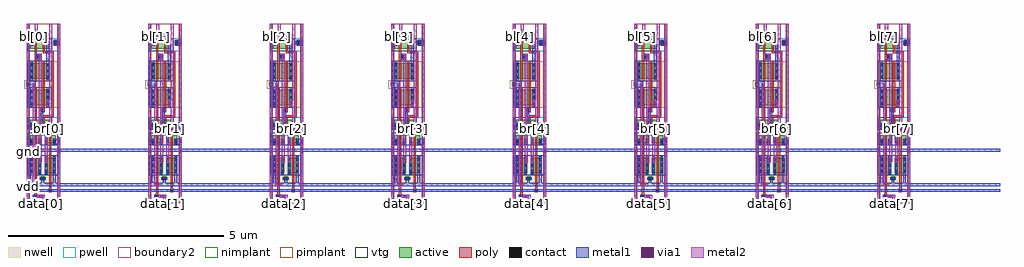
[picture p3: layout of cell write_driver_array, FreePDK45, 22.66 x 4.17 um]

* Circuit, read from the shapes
.subckt write_driver_array bl[0] bl[1] bl[2] bl[3] bl[4] bl[5] bl[6] bl[7] br[0] br[1] br[2] br[3] br[4] br[5] br[6] br[7] data[0] data[1] data[2] data[3] data[4] data[5] data[6] data[7] en gnd vdd
M1 n1 data[0] gnd gnd nfet w=0.18u l=0.05u
M2 n2 data[0] gnd gnd nfet w=0.18u l=0.05u
M3 n3 n1 gnd gnd nfet w=0.18u l=0.05u
M4 br[0] en n2 gnd nfet w=0.18u l=0.05u
M5 bl[0] en n3 gnd nfet w=0.18u l=0.05u
M6 gnd en n4 gnd nfet w=0.18u l=0.05u
M7 n5 data[1] gnd gnd nfet w=0.18u l=0.05u
M8 n6 data[1] gnd gnd nfet w=0.18u l=0.05u
M9 n7 n5 gnd gnd nfet w=0.18u l=0.05u
M10 br[1] en n6 gnd nfet w=0.18u l=0.05u
M11 bl[1] en n7 gnd nfet w=0.18u l=0.05u
M12 gnd en n8 gnd nfet w=0.18u l=0.05u
M13 n9 data[2] gnd gnd nfet w=0.18u l=0.05u
M14 n10 data[2] gnd gnd nfet w=0.18u l=0.05u
M15 n11 n9 gnd gnd nfet w=0.18u l=0.05u
M16 br[2] en n10 gnd nfet w=0.18u l=0.05u
M17 bl[2] en n11 gnd nfet w=0.18u l=0.05u
M18 gnd en n12 gnd nfet w=0.18u l=0.05u
M19 n13 data[3] gnd gnd nfet w=0.18u l=0.05u
M20 n14 data[3] gnd gnd nfet w=0.18u l=0.05u
M21 n15 n13 gnd gnd nfet w=0.18u l=0.05u
M22 br[3] en n14 gnd nfet w=0.18u l=0.05u
M23 bl[3] en n15 gnd nfet w=0.18u l=0.05u
M24 gnd en n16 gnd nfet w=0.18u l=0.05u
M25 n17 data[4] gnd gnd nfet w=0.18u l=0.05u
M26 n18 data[4] gnd gnd nfet w=0.18u l=0.05u
M27 n19 n17 gnd gnd nfet w=0.18u l=0.05u
M28 br[4] en n18 gnd nfet w=0.18u l=0.05u
M29 bl[4] en n19 gnd nfet w=0.18u l=0.05u
M30 gnd en n20 gnd nfet w=0.18u l=0.05u
M31 n21 data[5] gnd gnd nfet w=0.18u l=0.05u
M32 n22 data[5] gnd gnd nfet w=0.18u l=0.05u
M33 n23 n21 gnd gnd nfet w=0.18u l=0.05u
M34 br[5] en n22 gnd nfet w=0.18u l=0.05u
M35 bl[5] en n23 gnd nfet w=0.18u l=0.05u
M36 gnd en n24 gnd nfet w=0.18u l=0.05u
M37 n25 data[6] gnd gnd nfet w=0.18u l=0.05u
M38 n26 data[6] gnd gnd nfet w=0.18u l=0.05u
M39 n27 n25 gnd gnd nfet w=0.18u l=0.05u
M40 br[6] en n26 gnd nfet w=0.18u l=0.05u
M41 bl[6] en n27 gnd nfet w=0.18u l=0.05u
M42 gnd en n28 gnd nfet w=0.18u l=0.05u
M43 n29 data[7] gnd gnd nfet w=0.18u l=0.05u
M44 n30 data[7] gnd gnd nfet w=0.18u l=0.05u
M45 n31 n29 gnd gnd nfet w=0.18u l=0.05u
M46 br[7] en n30 gnd nfet w=0.18u l=0.05u
M47 bl[7] en n31 gnd nfet w=0.18u l=0.05u
M48 gnd en n32 gnd nfet w=0.18u l=0.05u
M49 n1 data[0] vdd vdd pfet w=0.36u l=0.05u
M50 n33 data[0] vdd vdd pfet w=0.36u l=0.05u
M51 n34 n1 vdd vdd pfet w=0.36u l=0.05u
M52 br[0] n4 n33 vdd pfet w=0.36u l=0.05u
M53 bl[0] n4 n34 vdd pfet w=0.36u l=0.05u
M54 vdd en n4 vdd pfet w=0.36u l=0.05u
M55 n5 data[1] vdd vdd pfet w=0.36u l=0.05u
M56 n35 data[1] vdd vdd pfet w=0.36u l=0.05u
M57 n36 n5 vdd vdd pfet w=0.36u l=0.05u
M58 br[1] n8 n35 vdd pfet w=0.36u l=0.05u
M59 bl[1] n8 n36 vdd pfet w=0.36u l=0.05u
M60 vdd en n8 vdd pfet w=0.36u l=0.05u
M61 n9 data[2] vdd vdd pfet w=0.36u l=0.05u
M62 n37 data[2] vdd vdd pfet w=0.36u l=0.05u
M63 n38 n9 vdd vdd pfet w=0.36u l=0.05u
M64 br[2] n12 n37 vdd pfet w=0.36u l=0.05u
M65 bl[2] n12 n38 vdd pfet w=0.36u l=0.05u
M66 vdd en n12 vdd pfet w=0.36u l=0.05u
M67 n13 data[3] vdd vdd pfet w=0.36u l=0.05u
M68 n39 data[3] vdd vdd pfet w=0.36u l=0.05u
M69 n40 n13 vdd vdd pfet w=0.36u l=0.05u
M70 br[3] n16 n39 vdd pfet w=0.36u l=0.05u
M71 bl[3] n16 n40 vdd pfet w=0.36u l=0.05u
M72 vdd en n16 vdd pfet w=0.36u l=0.05u
M73 n17 data[4] vdd vdd pfet w=0.36u l=0.05u
M74 n41 data[4] vdd vdd pfet w=0.36u l=0.05u
M75 n42 n17 vdd vdd pfet w=0.36u l=0.05u
M76 br[4] n20 n41 vdd pfet w=0.36u l=0.05u
M77 bl[4] n20 n42 vdd pfet w=0.36u l=0.05u
M78 vdd en n20 vdd pfet w=0.36u l=0.05u
M79 n21 data[5] vdd vdd pfet w=0.36u l=0.05u
M80 n43 data[5] vdd vdd pfet w=0.36u l=0.05u
M81 n44 n21 vdd vdd pfet w=0.36u l=0.05u
M82 br[5] n24 n43 vdd pfet w=0.36u l=0.05u
M83 bl[5] n24 n44 vdd pfet w=0.36u l=0.05u
M84 vdd en n24 vdd pfet w=0.36u l=0.05u
M85 n25 data[6] vdd vdd pfet w=0.36u l=0.05u
M86 n45 data[6] vdd vdd pfet w=0.36u l=0.05u
M87 n46 n25 vdd vdd pfet w=0.36u l=0.05u
M88 br[6] n28 n45 vdd pfet w=0.36u l=0.05u
M89 bl[6] n28 n46 vdd pfet w=0.36u l=0.05u
M90 vdd en n28 vdd pfet w=0.36u l=0.05u
M91 n29 data[7] vdd vdd pfet w=0.36u l=0.05u
M92 n47 data[7] vdd vdd pfet w=0.36u l=0.05u
M93 n48 n29 vdd vdd pfet w=0.36u l=0.05u
M94 br[7] n32 n47 vdd pfet w=0.36u l=0.05u
M95 bl[7] n32 n48 vdd pfet w=0.36u l=0.05u
M96 vdd en n32 vdd pfet w=0.36u l=0.05u
.ends

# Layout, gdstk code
import gdstk
lib = gdstk.Library(unit=1e-6, precision=5e-10)
def R(c, l, rs):  # rectangles x0, y0, x1, y1
    for r in rs: c.add(gdstk.rectangle(r[:2], r[2:], *l))
def A(c, l, x, y, w, h, nx, ny, dx, dy):  # array of equal rectangles
    R(c, l, [(x+i*dx, y+j*dy, x+i*dx+w, y+j*dy+h) for i in range(nx) for j in range(ny)])
active = (1, 0)
pwell = (2, 0)
nwell = (3, 0)
nimplant = (4, 0)
pimplant = (5, 0)
vtg = (6, 0)
poly = (9, 0)
contact = (10, 0)
metal1 = (11, 0)
via1 = (12, 0)
metal2 = (13, 0)
boundary2 = (239, 0)

write_driver = lib.new_cell('write_driver')
R(write_driver, active, [(0.2925,0.535,0.3825,0.625), (0.04,0.705,0.115,1.065), (0.04,0.705,0.115,1.065), (0.04,0.705,0.3,1.065), (0.225,0.705,0.3,1.065), (0.225,0.705,0.3,1.065), (0.38,0.705,0.455,1.065), (0.38,0.705,0.455,1.065), (0.38,0.705,0.64,1.065), (0.565,0.705,0.64,1.065), (0.565,0.705,0.64,1.065), (0.04,0.71,0.115,1.065), (0.225,0.71,0.3,1.065), (0.38,0.71,0.455,1.065), (0.565,0.71,0.64,1.065), (0.04,1.4,0.115,1.475), (0.04,1.4,0.115,1.58), (0.04,1.4,0.115,1.58), (0.04,1.4,0.3,1.58), (0.225,1.4,0.3,1.475), (0.225,1.4,0.3,1.58), (0.225,1.4,0.3,1.58), (0.38,1.4,0.455,1.475), (0.38,1.4,0.455,1.58), (0.38,1.4,0.455,1.58), (0.38,1.4,0.64,1.58), (0.565,1.4,0.64,1.475), (0.565,1.4,0.64,1.58), (0.565,1.4,0.64,1.58), (0.5725,1.7575,0.6625,1.8475), (0.04,1.765,0.115,1.84), (0.04,1.765,0.49,1.945), (0.04,1.765,0.115,1.945), (0.04,1.765,0.115,1.945), (0.1975,1.765,0.3375,1.945), (0.415,1.765,0.49,1.84), (0.415,1.765,0.49,1.945), (0.415,1.765,0.49,1.945), (0.04,2.28,0.115,2.635), (0.04,2.28,0.49,2.64), (0.04,2.28,0.115,2.64), (0.04,2.28,0.115,2.64), (0.1975,2.28,0.3375,2.64), (0.415,2.28,0.49,2.635), (0.415,2.28,0.49,2.64), (0.415,2.28,0.49,2.64), (-0.045,2.72,0.045,2.81), (0.04,2.8925,0.49,3.2525), (0.04,2.8925,0.115,3.2525), (0.04,2.8925,0.115,3.2525), (0.1925,2.8925,0.3325,3.2525), (0.415,2.8925,0.49,3.2525), (0.415,2.8925,0.49,3.2525), (0.04,2.8975,0.115,3.2525), (0.415,2.8975,0.49,3.2525), (0.04,3.5875,0.49,3.7675), (0.04,3.5875,0.115,3.7675), (0.04,3.5875,0.115,3.7675), (0.1925,3.5875,0.3325,3.7675), (0.415,3.5875,0.49,3.7675), (0.415,3.5875,0.49,3.7675), (0.575,3.685,0.665,3.775), (0.04,3.6925,0.115,3.7675), (0.415,3.6925,0.49,3.7675)])
R(write_driver, pwell, [(-0.035,1.345,0.74,2), (-0.015,1.345,0.355,1.635), (0.325,1.345,0.695,1.635), (0.5175,1.7025,0.7175,1.9025), (-0.015,1.71,0.545,2), (-0.035,3.5325,0.74,3.83), (-0.015,3.5325,0.545,3.8225), (0.52,3.63,0.72,3.83)])
R(write_driver, nwell, [(-0.035,0.48,0.74,1.12), (0.2375,0.48,0.4375,0.68), (-0.015,0.65,0.355,1.12), (0.325,0.65,0.695,1.12), (-0.035,2.225,0.74,3.3), (-0.015,2.225,0.545,2.695), (-0.1,2.665,0.1,2.865), (-0.015,2.8375,0.545,3.3075)])
R(write_driver, nimplant, [(0.2925,0.535,0.3825,0.625), (0.04,1.4,0.3,1.58), (0.38,1.4,0.64,1.58), (0.04,1.765,0.49,1.945), (-0.045,2.72,0.045,2.81), (0.04,3.5875,0.49,3.7675)])
R(write_driver, pimplant, [(0.04,0.705,0.3,1.065), (0.38,0.705,0.64,1.065), (0.5725,1.7575,0.6625,1.8475), (0.04,2.28,0.49,2.64), (0.04,2.8925,0.49,3.2525), (0.575,3.685,0.665,3.775)])
R(write_driver, vtg, [(-0.015,0.65,0.355,1.12), (0.325,0.65,0.695,1.12), (-0.015,1.345,0.355,1.635), (0.325,1.345,0.695,1.635), (-0.015,1.71,0.545,2), (-0.015,2.225,0.545,2.695), (-0.015,2.8375,0.545,3.3075), (-0.015,3.5325,0.545,3.8225)])
R(write_driver, poly, [(0.1325,0.1325,0.2075,0.2075), (0.145,0.1375,0.195,0.65), (0.4725,0.2625,0.5475,0.3375), (0.485,0.2675,0.535,0.65), (0.145,0.65,0.195,0.705), (0.145,0.65,0.195,1.12), (0.485,0.65,0.535,0.705), (0.485,0.65,0.535,1.12), (0.145,1.065,0.195,1.12), (0.485,1.065,0.535,1.12), (0.145,1.12,0.195,1.345), (0.485,1.12,0.535,1.345), (0.145,1.345,0.195,1.4), (0.145,1.345,0.195,1.635), (0.485,1.345,0.535,1.4), (0.485,1.345,0.535,1.635), (0.145,1.58,0.195,1.635), (0.485,1.58,0.535,1.635), (0.145,1.635,0.195,1.71), (0.485,1.635,0.535,1.66), (0.335,1.66,0.535,1.71), (0.145,1.71,0.195,1.765), (0.145,1.71,0.195,2), (0.335,1.71,0.385,1.765), (0.335,1.71,0.385,2), (0.145,1.945,0.195,2), (0.335,1.945,0.385,2), (0.335,1.995,0.59,2.045), (0.54,1.995,0.59,3.4825), (0.145,2,0.195,2.225), (0.2775,2.12,0.3525,2.195), (0.335,2.12,0.385,2.225), (0.145,2.225,0.195,2.28), (0.145,2.225,0.195,2.695), (0.335,2.225,0.385,2.28), (0.335,2.225,0.385,2.695), (0.145,2.64,0.195,2.695), (0.335,2.64,0.385,2.695), (0.335,2.695,0.385,2.8375), (0.145,2.8375,0.195,2.8925), (0.145,2.8375,0.195,3.3075), (0.335,2.8375,0.385,2.8925), (0.335,2.8375,0.385,3.3075), (0.145,3.2525,0.195,3.3075), (0.335,3.2525,0.385,3.3075), (0.145,3.3075,0.195,3.5325), (0.18,3.37,0.255,3.445), (0.335,3.4825,0.59,3.5325), (0.145,3.5325,0.195,3.5875), (0.145,3.5325,0.195,3.8225), (0.335,3.5325,0.385,3.5875), (0.335,3.5325,0.385,3.8225), (0.145,3.7675,0.195,3.8225), (0.335,3.7675,0.385,3.8225)])
A(write_driver, contact, 0.045, 0.715, 0.065, 0.065, 1, 3, 0, 0.14)
A(write_driver, contact, 0.23, 0.715, 0.065, 0.065, 1, 3, 0, 0.14)
A(write_driver, contact, 0.385, 0.715, 0.065, 0.065, 1, 3, 0, 0.14)
A(write_driver, contact, 0.57, 0.715, 0.065, 0.065, 1, 3, 0, 0.14)
A(write_driver, contact, 0.045, 2.285, 0.065, 0.065, 1, 3, 0, 0.14)
A(write_driver, contact, 0.42, 2.285, 0.065, 0.065, 1, 3, 0, 0.14)
A(write_driver, contact, 0.045, 2.9025, 0.065, 0.065, 1, 3, 0, 0.14)
A(write_driver, contact, 0.42, 2.9025, 0.065, 0.065, 1, 3, 0, 0.14)
R(write_driver, contact, [(0.1375,0.1375,0.2025,0.2025), (0.4775,0.2675,0.5425,0.3325), (0.305,0.5475,0.37,0.6125), (0.045,1.405,0.11,1.47), (0.23,1.405,0.295,1.47), (0.385,1.405,0.45,1.47), (0.57,1.405,0.635,1.47), (0.045,1.77,0.11,1.835), (0.42,1.77,0.485,1.835), (0.585,1.77,0.65,1.835), (0.2825,2.125,0.3475,2.19), (-0.0325,2.7325,0.0325,2.7975), (0.185,3.375,0.25,3.44), (0.045,3.6975,0.11,3.7625), (0.42,3.6975,0.485,3.7625), (0.5875,3.6975,0.6525,3.7625)])
R(write_driver, metal1, [(0.2075,0.135,0.3425,0.2), (0.1025,0.1375,0.2375,0.2025), (-0.035,0.2675,0.74,0.3325), (-0.035,0.2675,0.74,0.3325), (0.295,0.2675,0.3675,0.3325), (0.4425,0.2675,0.5775,0.3325), (-0.035,0.3975,0.74,0.4625), (-0.035,0.3975,0.74,0.4625), (0.105,0.3975,0.24,0.4625), (0.2975,0.3975,0.3675,0.4625), (0.045,0.4625,0.11,0.68), (0.3025,0.4625,0.3675,0.6125), (0.57,0.4625,0.635,0.68), (0.27,0.5475,0.405,0.6125), (0.045,0.68,0.11,1.095), (0.23,0.68,0.295,1.095), (0.385,0.68,0.45,1.095), (0.57,0.68,0.635,1.095), (0.2475,0.96,0.3125,1.095), (0.3875,0.96,0.4525,1.095), (-0.0325,1.165,0.0325,1.3), (0.6725,1.165,0.7375,1.3), (-0.035,1.2,0.74,1.265), (-0.035,1.2,0.74,1.265), (0.32,1.2025,0.3775,1.2625), (-0.0325,1.37,0.0325,1.505), (0.0275,1.37,0.04,1.505), (0.035,1.37,0.045,1.505), (0.045,1.37,0.11,1.505), (0.23,1.37,0.295,1.505), (0.2475,1.37,0.3125,1.505), (0.385,1.37,0.45,1.505), (0.3875,1.37,0.4525,1.505), (0.57,1.37,0.635,1.505), (0.63,1.37,0.6725,1.505), (0.6725,1.37,0.7375,1.505), (0.38,1.4525,0.445,1.5775), (0.2825,1.5775,0.445,1.6425), (0.2825,1.5775,0.3475,2.175), (-0.0325,1.735,0.0325,1.87), (0.0275,1.735,0.04,1.87), (0.035,1.735,0.045,1.87), (0.045,1.735,0.11,1.87), (0.4175,1.735,0.4825,1.87), (0.42,1.735,0.485,1.87), (0.585,1.735,0.65,1.87), (0.65,1.735,0.6725,1.87), (0.6725,1.735,0.7375,1.87), (0.2825,2.09,0.3475,2.225), (0.045,2.25,0.11,2.665), (0.4175,2.25,0.4825,2.385), (0.42,2.25,0.485,2.665), (0.095,2.65,0.11,2.785), (0.1075,2.65,0.1725,2.785), (0.045,2.665,0.11,2.8675), (-0.0325,2.6975,0.0325,2.8325), (0.0325,2.6975,0.175,2.8325), (0.045,2.8675,0.11,3.2825), (0.42,2.8675,0.485,3.2825), (0.42,3.2825,0.485,3.6625), (0.185,3.34,0.25,3.475), (0.2475,3.34,0.3125,3.475), (-0.0325,3.6625,0.0325,3.7975), (0.0275,3.6625,0.04,3.7975), (0.035,3.6625,0.045,3.7975), (0.045,3.6625,0.11,3.7975), (0.42,3.6625,0.485,3.7975), (0.5875,3.6625,0.6525,3.7975), (0.6525,3.6625,0.6725,3.7975), (0.6725,3.6625,0.7375,3.7975), (0.42,3.7975,0.485,3.8725), (0.15,3.8725,0.485,3.9375), (0.1525,3.8725,0.2175,4.0075)])
R(write_driver, via1, [(0.2425,0.135,0.3075,0.2), (0.14,0.3975,0.205,0.4625), (0.2475,0.995,0.3125,1.06), (0.3875,0.995,0.4525,1.06), (-0.0325,1.2,0.0325,1.265), (0.6725,1.2,0.7375,1.265), (-0.0325,1.405,0.0325,1.47), (0.2475,1.405,0.3125,1.47), (0.3875,1.405,0.4525,1.47), (0.6725,1.405,0.7375,1.47), (-0.0325,1.77,0.0325,1.835), (0.4175,1.77,0.4825,1.835), (0.6725,1.77,0.7375,1.835), (0.4175,2.285,0.4825,2.35), (0.1075,2.685,0.1725,2.75), (0.2475,3.375,0.3125,3.44), (-0.0325,3.6975,0.0325,3.7625), (0.6725,3.6975,0.7375,3.7625), (0.1525,3.9075,0.2175,3.9725)])
R(write_driver, metal2, [(-0.035,0,0.035,4.175), (0.3175,0,0.3875,0.14), (0.3175,0,0.3875,0.14), (0.67,0,0.74,4.175), (0.32,0.005,0.385,0.0675), (0.195,0.1325,0.3875,0.2025), (0.2075,0.1325,0.3425,0.2025), (0.105,0.395,0.24,0.465), (0.105,0.465,0.175,2.785), (0.245,0.96,0.315,1.095), (0.385,0.96,0.455,1.095), (0.245,1.095,0.315,1.37), (0.385,1.095,0.455,1.37), (-0.035,1.165,0.035,1.3), (0.67,1.165,0.74,1.3), (-0.035,1.37,0.035,1.505), (0.245,1.37,0.315,1.505), (0.245,1.37,0.315,3.4675), (0.385,1.37,0.455,1.505), (0.67,1.37,0.74,1.505), (-0.035,1.735,0.035,1.87), (0.415,1.735,0.485,1.87), (0.485,1.735,0.555,4.175), (0.485,1.735,0.555,4.175), (0.67,1.735,0.74,1.87), (0.415,2.25,0.485,2.385), (0.105,2.65,0.175,2.785), (0.245,3.34,0.315,3.475), (-0.035,3.6625,0.035,3.7975), (0.67,3.6625,0.74,3.7975), (0.15,3.8725,0.22,4.0075), (0.15,3.875,0.22,4.175), (0.15,3.875,0.22,4.175), (0.15,4.11,0.22,4.175), (0.4875,4.115,0.5525,4.175)])
R(write_driver, boundary2, [(0,0,0.705,4.175)])
write_driver.add(gdstk.Label('bl', (0.19,4.138), layer=13, texttype=0))
write_driver.add(gdstk.Label('din', (0.3575,0.0375), layer=13, texttype=0))
write_driver.add(gdstk.Label('br', (0.52,4.15), layer=13, texttype=0))
write_driver.add(gdstk.Label('l = 0.05', (0.395,3.6775), layer=230, texttype=0))
write_driver.add(gdstk.Label('w = 0.18', (0.36,3.5225), layer=230, texttype=0))
write_driver.add(gdstk.Label('l = 0.05', (0.205,3.6775), layer=230, texttype=0))
write_driver.add(gdstk.Label('w = 0.18', (0.17,3.5225), layer=230, texttype=0))
write_driver.add(gdstk.Label('l = 0.05', (0.135,1.855), layer=230, texttype=0))
write_driver.add(gdstk.Label('w = 0.18', (0.17,2.01), layer=230, texttype=0))
write_driver.add(gdstk.Label('l = 0.05', (0.325,1.855), layer=230, texttype=0))
write_driver.add(gdstk.Label('w = 0.18', (0.36,2.01), layer=230, texttype=0))
write_driver.add(gdstk.Label('l = 0.05', (0.395,3.0725), layer=230, texttype=0))
write_driver.add(gdstk.Label('w = 0.36', (0.36,2.8275), layer=230, texttype=0))
write_driver.add(gdstk.Label('l = 0.05', (0.205,3.0725), layer=230, texttype=0))
write_driver.add(gdstk.Label('w = 0.36', (0.17,2.8275), layer=230, texttype=0))
write_driver.add(gdstk.Label('l = 0.05', (0.135,2.46), layer=230, texttype=0))
write_driver.add(gdstk.Label('w = 0.36', (0.17,2.705), layer=230, texttype=0))
write_driver.add(gdstk.Label('l = 0.05', (0.325,2.46), layer=230, texttype=0))
write_driver.add(gdstk.Label('w = 0.36', (0.36,2.705), layer=230, texttype=0))
write_driver.add(gdstk.Label('l = 0.05', (0.205,0.885), layer=230, texttype=0))
write_driver.add(gdstk.Label('w = 0.36', (0.17,0.64), layer=230, texttype=0))
write_driver.add(gdstk.Label('l = 0.05', (0.475,0.885), layer=230, texttype=0))
write_driver.add(gdstk.Label('w = 0.36', (0.51,0.64), layer=230, texttype=0))
write_driver.add(gdstk.Label('l = 0.05', (0.205,1.49), layer=230, texttype=0))
write_driver.add(gdstk.Label('w = 0.18', (0.17,1.645), layer=230, texttype=0))
write_driver.add(gdstk.Label('l = 0.05', (0.475,1.49), layer=230, texttype=0))
write_driver.add(gdstk.Label('w = 0.18', (0.51,1.645), layer=230, texttype=0))
write_driver.add(gdstk.Label('gnd', (0.3425,1.235), layer=11, texttype=0))
write_driver.add(gdstk.Label('en', (0.3325,0.3), layer=11, texttype=0))
write_driver.add(gdstk.Label('vdd', (0.335,0.4325), layer=11, texttype=0))
write_driver.add(gdstk.Label('din', (0.3175,0), layer=13, texttype=0))
write_driver.add(gdstk.Label('en', (-0.035,0.2675), layer=11, texttype=0))
write_driver.add(gdstk.Label('br', (0.485,1.735), layer=13, texttype=0))
write_driver.add(gdstk.Label('bl', (0.15,3.875), layer=13, texttype=0))
write_driver.add(gdstk.Label('vdd', (-0.035,0.3975), layer=11, texttype=0))
write_driver.add(gdstk.Label('gnd', (-0.035,1.2), layer=11, texttype=0))

write_driver_array = lib.new_cell('write_driver_array')
R(write_driver_array, metal1, [(0,0.2675,22.56,0.3325), (0,0.2675,22.56,0.3325), (0,0.3975,22.56,0.4625), (0,0.3975,22.56,0.4625), (0,1.2,22.56,1.265), (0,1.2,22.56,1.265)])
R(write_driver_array, metal2, [(0.3175,0,0.3875,0.14), (0.3175,0,0.3875,0.14), (3.1375,0,3.2075,0.14), (3.1375,0,3.2075,0.14), (5.9575,0,6.0275,0.14), (5.9575,0,6.0275,0.14), (8.7775,0,8.8475,0.14), (8.7775,0,8.8475,0.14), (11.5975,0,11.6675,0.14), (11.5975,0,11.6675,0.14), (14.4175,0,14.4875,0.14), (14.4175,0,14.4875,0.14), (17.2375,0,17.3075,0.14), (17.2375,0,17.3075,0.14), (20.0575,0,20.1275,0.14), (20.0575,0,20.1275,0.14), (0.485,1.735,0.555,4.175), (0.485,1.735,0.555,4.175), (3.305,1.735,3.375,4.175), (3.305,1.735,3.375,4.175), (6.125,1.735,6.195,4.175), (6.125,1.735,6.195,4.175), (8.945,1.735,9.015,4.175), (8.945,1.735,9.015,4.175), (11.765,1.735,11.835,4.175), (11.765,1.735,11.835,4.175), (14.585,1.735,14.655,4.175), (14.585,1.735,14.655,4.175), (17.405,1.735,17.475,4.175), (17.405,1.735,17.475,4.175), (20.225,1.735,20.295,4.175), (20.225,1.735,20.295,4.175), (0.15,3.875,0.22,4.175), (0.15,3.875,0.22,4.175), (2.97,3.875,3.04,4.175), (2.97,3.875,3.04,4.175), (5.79,3.875,5.86,4.175), (5.79,3.875,5.86,4.175), (8.61,3.875,8.68,4.175), (8.61,3.875,8.68,4.175), (11.43,3.875,11.5,4.175), (11.43,3.875,11.5,4.175), (14.25,3.875,14.32,4.175), (14.25,3.875,14.32,4.175), (17.07,3.875,17.14,4.175), (17.07,3.875,17.14,4.175), (19.89,3.875,19.96,4.175), (19.89,3.875,19.96,4.175)])
write_driver_array.add(gdstk.Reference(write_driver, (0,0)))
write_driver_array.add(gdstk.Reference(write_driver, (2.82,0)))
write_driver_array.add(gdstk.Reference(write_driver, (5.64,0)))
write_driver_array.add(gdstk.Reference(write_driver, (8.46,0)))
write_driver_array.add(gdstk.Reference(write_driver, (11.28,0)))
write_driver_array.add(gdstk.Reference(write_driver, (14.1,0)))
write_driver_array.add(gdstk.Reference(write_driver, (16.92,0)))
write_driver_array.add(gdstk.Reference(write_driver, (19.74,0)))
write_driver_array.add(gdstk.Reference(write_driver, (0,0)))
write_driver_array.add(gdstk.Reference(write_driver, (2.82,0)))
write_driver_array.add(gdstk.Reference(write_driver, (5.64,0)))
write_driver_array.add(gdstk.Reference(write_driver, (8.46,0)))
write_driver_array.add(gdstk.Reference(write_driver, (11.28,0)))
write_driver_array.add(gdstk.Reference(write_driver, (14.1,0)))
write_driver_array.add(gdstk.Reference(write_driver, (16.92,0)))
write_driver_array.add(gdstk.Reference(write_driver, (19.74,0)))
write_driver_array.add(gdstk.Label('data[0]', (0.3175,0), layer=13, texttype=0))
write_driver_array.add(gdstk.Label('en', (0,0.2675), layer=11, texttype=0))
write_driver_array.add(gdstk.Label('br[2]', (6.125,1.735), layer=13, texttype=0))
write_driver_array.add(gdstk.Label('br[6]', (17.405,1.735), layer=13, texttype=0))
write_driver_array.add(gdstk.Label('br[0]', (0.485,1.735), layer=13, texttype=0))
write_driver_array.add(gdstk.Label('br[4]', (11.765,1.735), layer=13, texttype=0))
write_driver_array.add(gdstk.Label('bl[1]', (2.97,3.875), layer=13, texttype=0))
write_driver_array.add(gdstk.Label('bl[3]', (8.61,3.875), layer=13, texttype=0))
write_driver_array.add(gdstk.Label('bl[7]', (19.89,3.875), layer=13, texttype=0))
write_driver_array.add(gdstk.Label('bl[5]', (14.25,3.875), layer=13, texttype=0))
write_driver_array.add(gdstk.Label('data[6]', (17.2375,0), layer=13, texttype=0))
write_driver_array.add(gdstk.Label('data[2]', (5.9575,0), layer=13, texttype=0))
write_driver_array.add(gdstk.Label('data[4]', (11.5975,0), layer=13, texttype=0))
write_driver_array.add(gdstk.Label('data[1]', (3.1375,0), layer=13, texttype=0))
write_driver_array.add(gdstk.Label('data[3]', (8.7775,0), layer=13, texttype=0))
write_driver_array.add(gdstk.Label('br[3]', (8.945,1.735), layer=13, texttype=0))
write_driver_array.add(gdstk.Label('br[1]', (3.305,1.735), layer=13, texttype=0))
write_driver_array.add(gdstk.Label('br[5]', (14.585,1.735), layer=13, texttype=0))
write_driver_array.add(gdstk.Label('br[7]', (20.225,1.735), layer=13, texttype=0))
write_driver_array.add(gdstk.Label('bl[0]', (0.15,3.875), layer=13, texttype=0))
write_driver_array.add(gdstk.Label('bl[4]', (11.43,3.875), layer=13, texttype=0))
write_driver_array.add(gdstk.Label('bl[2]', (5.79,3.875), layer=13, texttype=0))
write_driver_array.add(gdstk.Label('data[7]', (20.0575,0), layer=13, texttype=0))
write_driver_array.add(gdstk.Label('bl[6]', (17.07,3.875), layer=13, texttype=0))
write_driver_array.add(gdstk.Label('vdd', (0,0.3975), layer=11, texttype=0))
write_driver_array.add(gdstk.Label('gnd', (0,1.2), layer=11, texttype=0))
write_driver_array.add(gdstk.Label('data[5]', (14.4175,0), layer=13, texttype=0))
write_driver_array.add(gdstk.Label('data[0]', (0.3175,0), layer=13, texttype=0))
write_driver_array.add(gdstk.Label('en', (0,0.2675), layer=11, texttype=0))
write_driver_array.add(gdstk.Label('br[2]', (6.125,1.735), layer=13, texttype=0))
write_driver_array.add(gdstk.Label('br[6]', (17.405,1.735), layer=13, texttype=0))
write_driver_array.add(gdstk.Label('br[0]', (0.485,1.735), layer=13, texttype=0))
write_driver_array.add(gdstk.Label('br[4]', (11.765,1.735), layer=13, texttype=0))
write_driver_array.add(gdstk.Label('bl[1]', (2.97,3.875), layer=13, texttype=0))
write_driver_array.add(gdstk.Label('bl[3]', (8.61,3.875), layer=13, texttype=0))
write_driver_array.add(gdstk.Label('bl[7]', (19.89,3.875), layer=13, texttype=0))
write_driver_array.add(gdstk.Label('bl[5]', (14.25,3.875), layer=13, texttype=0))
write_driver_array.add(gdstk.Label('data[6]', (17.2375,0), layer=13, texttype=0))
write_driver_array.add(gdstk.Label('data[2]', (5.9575,0), layer=13, texttype=0))
write_driver_array.add(gdstk.Label('data[4]', (11.5975,0), layer=13, texttype=0))
write_driver_array.add(gdstk.Label('data[1]', (3.1375,0), layer=13, texttype=0))
write_driver_array.add(gdstk.Label('data[3]', (8.7775,0), layer=13, texttype=0))
write_driver_array.add(gdstk.Label('br[3]', (8.945,1.735), layer=13, texttype=0))
write_driver_array.add(gdstk.Label('br[1]', (3.305,1.735), layer=13, texttype=0))
write_driver_array.add(gdstk.Label('br[5]', (14.585,1.735), layer=13, texttype=0))
write_driver_array.add(gdstk.Label('br[7]', (20.225,1.735), layer=13, texttype=0))
write_driver_array.add(gdstk.Label('bl[0]', (0.15,3.875), layer=13, texttype=0))
write_driver_array.add(gdstk.Label('bl[4]', (11.43,3.875), layer=13, texttype=0))
write_driver_array.add(gdstk.Label('bl[2]', (5.79,3.875), layer=13, texttype=0))
write_driver_array.add(gdstk.Label('data[7]', (20.0575,0), layer=13, texttype=0))
write_driver_array.add(gdstk.Label('bl[6]', (17.07,3.875), layer=13, texttype=0))
write_driver_array.add(gdstk.Label('vdd', (0,0.3975), layer=11, texttype=0))
write_driver_array.add(gdstk.Label('gnd', (0,1.2), layer=11, texttype=0))
write_driver_array.add(gdstk.Label('data[5]', (14.4175,0), layer=13, texttype=0))

lib.write_gds('write_driver_array.gds')
